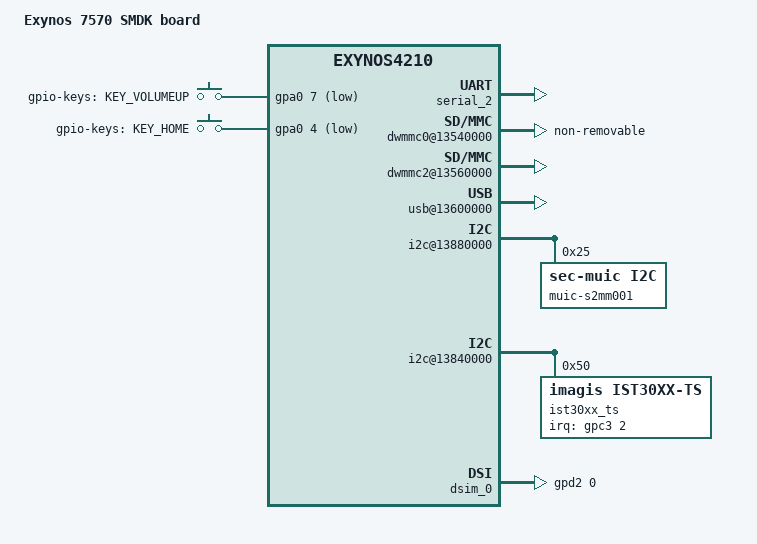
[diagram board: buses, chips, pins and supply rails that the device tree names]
/*
 * SAMSUNG SMDK7270 board device tree source
 *
 * Copyright (c) 2013 Samsung Electronics Co., Ltd.
 *		http://www.samsung.com
 *
 * This program is free software; you can redistribute it and/or modify
 * it under the terms of the GNU General Public License version 2 as
 * published by the Free Software Foundation.
*/

/dts-v1/;
#include "exynos7270.dtsi"
#include "exynos7270-rmem.dtsi"

/ {
	model = "Exynos 7570 SMDK board";
	compatible = "samsung,exynos7570", "samsung,exynos4210";

	memory@40000000 {
		device_type = "memory";
		reg = <0x0 0x40000000 0x20000000>;
	};

	chosen {
		bootargs = "console=ttySAC2,115200 clk_ignore_unused androidboot.hardware=samsungexynos7570 androidboot.selinux=disabled firmware_class.path=/vendor/firmware ess_setup=0x46000000";
		linux,initrd-start = <0x42000000>;
		linux,initrd-end = <0x421FFFFF>;
	};

	fixed-rate-clocks {
		oscclk {
			compatible = "samsung,exynos7570-oscclk";
			clock-frequency = <26000000>;
		};
	};

	serial_2: uart@13820000 {
		status = "okay";
	};

	dwmmc0@13540000 {
		status = "okay";
		num-slots = <1>;
		broken-cd;
		bypass-smu;
		fixed_voltage;
		supports-highspeed;
		clock-gate;
		mmc-ddr-1_8v;
		mmc-hs200-1_8v;
		mmc-hs400-1_8v;
		supports-8bit;
		supports-cmd23;
		supports-erase;
		enable-ulp-mode;
		supports-hs400-enhanced-strobe;
		use-fine-tuning;
		bypass-for-allpass;
		card-init-hwacg-ctrl;
		fifo-depth = <0x40>;
		non-removable;
		card-detect-delay = <200>;
		clock-frequency = <700000000>;
		samsung,dw-mshc-ciu-div = <3>;
		samsung,dw-mshc-txdt-crc-timer-fastlimit = <0x34>;
		samsung,dw-mshc-txdt-crc-timer-initval = <0x38>;
		samsung,dw-mshc-ddr200-delay-line = <0x60>;
		samsung,dw-mshc-sdr-timing = <3 0 4 0>;
		samsung,dw-mshc-ddr-timing = <3 0 4 2>;
		samsung,dw-mshc-hs200-timing = <3 0 3 0>;
		samsung,dw-mshc-ddr200-timing = <1 0 4 0>;
		samsung,dw-mshc-ddr200-ulp-timing = <3 0 3 0>;

		num-ref-clks = <10>;
		ciu_clkin = <25 43 43 87 175 43 43 175 175 175>;

		/* Swapping clock drive strength */
		clk-drive-number = <4>;
		pinctrl-names = "default",
			"fast-slew-rate-1x",
			"fast-slew-rate-2x",
			"fast-slew-rate-3x",
			"fast-slew-rate-4x";
		pinctrl-0 = <&sd0_clk &sd0_cmd &sd0_rdqs &sd0_bus1 &sd0_bus4 &sd0_bus8>;
		pinctrl-1 = <&sd0_clk_fast_slew_rate_1x>;
		pinctrl-2 = <&sd0_clk_fast_slew_rate_2x>;
		pinctrl-3 = <&sd0_clk_fast_slew_rate_3x>;
		pinctrl-4 = <&sd0_clk_fast_slew_rate_4x>;
		slot@0 {
			reg = <0>;
			bus-width = <8>;
		};
	};

	dwmmc2@13560000 {
		status = "okay";
		num-slots = <1>;
		clock-gate;
		supports-highspeed;
		supports-4bit;
		supports-cmd23;
		supports-erase;
		sd-uhs-sdr104;
		bypass-smu;
		bypass-for-allpass;
		use-fine-tuning;
		card-init-hwacg-ctrl;
		fifo-depth = <0x40>;
		card-detect-delay = <200>;
		samsung,dw-mshc-ciu-div = <3>;
		samsung,dw-mshc-sdr-timing = <3 0 2 0>;
		samsung,dw-mshc-ddr-timing = <3 0 2 1>;

		num-ref-clks = <6>;
		ciu_clkin = <25 43 43 87 175 43>;

		clk-drive-number = <4>;
		pinctrl-names = "default",
			"fast-slew-rate-1x",
			"fast-slew-rate-2x",
			"fast-slew-rate-3x",
			"fast-slew-rate-4x";
		pinctrl-0 = <&sd2_clk &sd2_cmd &sd2_bus1 &sd2_bus4 &dwmmc2_cd_ext_irq>;
		pinctrl-1 = <&sd2_clk_fast_slew_rate_1x>;
		pinctrl-2 = <&sd2_clk_fast_slew_rate_2x>;
		pinctrl-3 = <&sd2_clk_fast_slew_rate_3x>;
		pinctrl-4 = <&sd2_clk_fast_slew_rate_4x>;

		card-detect = <&gpa0 1 0xf>;
		slot@0 {
			reg = <0>;
			bus-width = <4>;
			disable-wp;
		};
	};

	ion {
		compatible = "samsung,exynos5430-ion";
	};

	usb@13600000 {
		status = "okay";

		dwc3 {
			dr_mode = "otg";
		};
	};

	usbphy@135c0000 {
		status = "okay";
	};

	usb_notifier {
		compatible = "samsung,usb-notifier";
		udc = <&udc>;
	};

	tmuctrl_0: tmuctrl_CPUCL0@10130000 {
		compatible = "samsung,exynos7570-tmu";
		reg = <0x0 0x10130000 0x200>;
		interrupts = <0 435 0>;
		default_ptat_cont = <0x1>;
	};

	tmuctrl_1: tmuctrl_G3D@10130000 {
		compatible = "samsung,exynos7570-tmu";
		reg = <0x0 0x10130000 0x200>;
		interrupts = <0 435 0>;
		default_ptat_cont = <0x1>;

		/* gpu cooling related table */
		gpu_idx_num = <5>;
		/* flags, driver_data(index), frequency */
		gpu_cooling_table = < 0 0 830000
				      0 1 700000
				      0 2 553000
				      0 3 415000
				      0 4 TABLE_END>;
	};

	pinctrl@139F0000 {
		if_irq: if-irq {
			samsung,pins = "gpa0-5";
			samsung,pin-pud = <3>;
			samsung,pin-drv = <3>;
		};
	};

	i2c@13880000 {
		status = "okay";
		muic-s2mm001@25 {
			compatible = "sec-muic,i2c";
			reg = <0x25>;
			pinctrl-names = "default";
			muic,muic_int = <&gpa1 1 0>;
		};
	};

	speedy@10510000 {
		status = "okay";
		s2mpw01mfd@00 {
			compatible = "samsung,s2mpw01mfd";
			reg = <0x00>;
			pinctrl-names = "default";
			pinctrl-0 = <&if_irq>;
			s2mpw01,irq-gpio = <&gpa0 5 0>;
			s2mpw01,wakeup = "enabled";

			i2c-speedy-address;
			cache_data = <1>;

			/* RTC: wtsr/smpl */
			wtsr_en = "enabled"; /* enable */
			wtsr_timer_val = <3>;   /* 1000ms */
			check_jigon = <0>; /* do not check jigon */
			/* RTC: reset time to 1/1/2014 00:00:00(Wed) */
			init_time,sec = <0>;
			init_time,min = <0>;
			init_time,hour = <0>;
			init_time,mday = <1>;
			init_time,mon = <0>;    /* +1 */
			init_time,year = <116>; /* 1900 + 114 */
			init_time,wday = <5>;

			s2mpw01-keys {
				button@1 {
					label = "pmic-keys: KEY_POWER";
					linux,code = <116>;
					wakeup = <1>;
				};
			};

			regulators {
				buck1_reg: BUCK1 {
					regulator-name = "BUCK1";
					regulator-min-microvolt = <600000>;
					regulator-max-microvolt = <1300000>;
					regulator-always-on;
					regulator-boot-on;
					regulator-ramp-delay = <12000>;
					regulator-initial-mode = <1>;
					regulator-expected-consumer = <5>;
				};

				buck3_reg: BUCK3 {
					regulator-name = "BUCK3";
					regulator-min-microvolt = <800000>;
					regulator-max-microvolt = <1500000>;
					regulator-always-on;
					regulator-boot-on;
					regulator-ramp-delay = <12000>;
					regulator-initial-mode = <3>;
				};

				buck4_reg: BUCK4 {
					regulator-name = "BUCK4";
					regulator-min-microvolt = <1800000>;
					regulator-max-microvolt = <2100000>;
					regulator-always-on;
					regulator-boot-on;
					regulator-initial-mode = <3>;
					regulator-ramp-delay = <12000>;
				};

				ldo1_reg: LDO1 {
					regulator-name = "vdd_ldo1";
					regulator-min-microvolt = <500000>;
					regulator-max-microvolt = <1350000>;
					regulator-ramp-delay = <12000>;
					regulator-always-on;
					regulator-boot-on;
					regulator-initial-mode = <3>;
				};

				ldo2_reg: LDO2 {
					regulator-name = "vdd_ldo2";
					regulator-min-microvolt = <500000>;
					regulator-max-microvolt = <1350000>;
					regulator-always-on;
					regulator-boot-on;
					regulator-ramp-delay = <12000>;
					regulator-initial-mode = <1>;
				};

				ldo3_reg: LDO3 {
					regulator-name = "vdd_ldo3";
					regulator-min-microvolt = <1500000>;
					regulator-max-microvolt = <2000000>;
					regulator-always-on;
					regulator-boot-on;
					regulator-initial-mode = <3>;
					regulator-ramp-delay = <12000>;
				};

				ldo4_reg: LDO4 {
					regulator-name = "vdd_ldo4";
					regulator-min-microvolt = <800000>;
					regulator-max-microvolt = <1200000>;
					regulator-always-on;
					regulator-boot-on;
					regulator-initial-mode = <1>;
					regulator-ramp-delay = <12000>;
				};

				ldo5_reg: LDO5 {
					regulator-name = "vdd_ldo5";
					regulator-min-microvolt = <800000>;
					regulator-max-microvolt = <1200000>;
					regulator-always-on;
					regulator-boot-on;
					regulator-initial-mode = <1>;
					regulator-ramp-delay = <12000>;
				};

				ldo6_reg: LDO6 {
					regulator-name = "vdd_ldo6";
					regulator-min-microvolt = <1800000>;
					regulator-max-microvolt = <3375000>;
					regulator-initial-mode = <1>;
					regulator-ramp-delay = <12000>;
				};

				ldo7_reg: LDO7 {
					regulator-name = "vdd_ldo7";
					regulator-min-microvolt = <800000>;
					regulator-max-microvolt = <1200000>;
					regulator-always-on;
					regulator-boot-on;
					regulator-initial-mode = <3>;
					regulator-ramp-delay = <12000>;
				};

				ldo8_reg: LDO8 {
					regulator-name = "vdd_ldo8";
					regulator-min-microvolt = <1500000>;
					regulator-max-microvolt = <2000000>;
					regulator-always-on;
					regulator-boot-on;
					regulator-ramp-delay = <12000>;
				};

				ldo9_reg: LDO9 {
					regulator-name = "vdd_ldo9";
					regulator-min-microvolt = <1800000>;
					regulator-max-microvolt = <3375000>;
					regulator-always-on;
					regulator-boot-on;
					regulator-ramp-delay = <12000>;
				};

				ldo10_reg: LDO10 {
					regulator-name = "vdd_ldo10";
					regulator-min-microvolt = <1500000>;
					regulator-max-microvolt = <2000000>;
					regulator-always-on;
					regulator-boot-on;
					regulator-ramp-delay = <12000>;
				};

				ldo11_reg: LDO11 {
					regulator-name = "vdd_ldo11";
					regulator-min-microvolt = <1800000>;
					regulator-max-microvolt = <2850000>;
					regulator-always-on;
					regulator-boot-on;
					regulator-ramp-delay = <12000>;
				};

				ldo12_reg: LDO12 {
					regulator-name = "vdd_ldo12";
					regulator-min-microvolt = <1800000>;
					regulator-max-microvolt = <3375000>;
					regulator-ramp-delay = <12000>;
				};

				ldo13_reg: LDO13 {
					regulator-name = "vdd_ldo13";
					regulator-min-microvolt = <1500000>;
					regulator-max-microvolt = <2000000>;
					regulator-ramp-delay = <12000>;
				};

				ldo14_reg: LDO14 {
					regulator-name = "vdd_ldo14";
					regulator-min-microvolt = <1800000>;
					regulator-max-microvolt = <3375000>;
					regulator-ramp-delay = <12000>;
				};

				ldo15_reg: LDO15 {
					regulator-name = "vdd_ldo15";
					regulator-min-microvolt = <1500000>;
					regulator-max-microvolt = <2000000>;
					regulator-always-on;
					regulator-boot-on;
					regulator-initial-mode = <3>;
					regulator-ramp-delay = <12000>;
				};

				ldo16_reg: LDO16 {
					regulator-name = "vdd_ldo16";
					regulator-min-microvolt = <1800000>;
					regulator-max-microvolt = <3375000>;
					regulator-always-on;
					regulator-boot-on;
					regulator-initial-mode = <1>;
					regulator-ramp-delay = <12000>;
				};

				ldo17_reg: LDO17 {
					regulator-name = "vdd_ldo17";
					regulator-min-microvolt = <1500000>;
					regulator-max-microvolt = <2000000>;
					regulator-always-on;
					regulator-boot-on;
					regulator-initial-mode = <1>;
					regulator-ramp-delay = <12000>;
				};

				ldo18_reg: LDO18 {
					regulator-name = "vdd_ldo18";
					regulator-min-microvolt = <1800000>;
					regulator-max-microvolt = <3375000>;
					regulator-ramp-delay = <12000>;
				};

				ldo19_reg: LDO19 {
					regulator-name = "vdd_ldo19";
					regulator-min-microvolt = <1800000>;
					regulator-max-microvolt = <3375000>;
					regulator-always-on;
					regulator-boot-on;
					regulator-ramp-delay = <12000>;
				};

				ldo20_reg: LDO20 {
					regulator-name = "vdd_ldo20";
					regulator-min-microvolt = <1800000>;
					regulator-max-microvolt = <3375000>;
					regulator-always-on;
					regulator-boot-on;
					regulator-ramp-delay = <12000>;
				};

				ldo21_reg: LDO21 {
					regulator-name = "vdd_ldo21";
					regulator-min-microvolt = <1500000>;
					regulator-max-microvolt = <2000000>;
					regulator-ramp-delay = <12000>;
					regulator-always-on;
					regulator-boot-on;
					regulator-initial-mode = <1>;
				};

				ldo22_reg: LDO22 {
					regulator-name = "vdd_ldo22";
					regulator-min-microvolt = <800000>;
					regulator-max-microvolt = <1200000>;
					regulator-always-on;
					regulator-boot-on;
					regulator-initial-mode = <1>;
					regulator-ramp-delay = <12000>;
				};

				ldo23_reg: LDO23 {
					regulator-name = "vdd_ldo23";
					regulator-min-microvolt = <1800000>;
					regulator-max-microvolt = <3375000>;
					regulator-always-on;
					regulator-boot-on;
					regulator-ramp-delay = <12000>;
				};
			};
		};
	};

	dummy-dev-buck1 {
		compatible = "samsung,exynos-rgt";
		test-supply = <&buck1_reg>;
	};

	dummy-dev-buck3 {
		compatible = "samsung,exynos-rgt";
		test-supply = <&buck3_reg>;
	};

	dummy-dev-buck4 {
		compatible = "samsung,exynos-rgt";
		test-supply = <&buck4_reg>;
	};

	dummy-dev-ldo1 {
		compatible = "samsung,exynos-rgt";
		test-supply = <&ldo1_reg>;
	};

	dummy-dev-ldo2 {
		compatible = "samsung,exynos-rgt";
		test-supply = <&ldo2_reg>;
	};

	dummy-dev-ldo3 {
		compatible = "samsung,exynos-rgt";
		test-supply = <&ldo3_reg>;
	};

	dummy-dev-ldo4 {
		compatible = "samsung,exynos-rgt";
		test-supply = <&ldo4_reg>;
	};

	dummy-dev-ldo5 {
		compatible = "samsung,exynos-rgt";
		test-supply = <&ldo5_reg>;
	};

	dummy-dev-ldo6 {
		compatible = "samsung,exynos-rgt";
		test-supply = <&ldo6_reg>;
	};

	dummy-dev-ldo7 {
		compatible = "samsung,exynos-rgt";
		test-supply = <&ldo7_reg>;
	};

	dummy-dev-ldo8 {
		compatible = "samsung,exynos-rgt";
		test-supply = <&ldo8_reg>;
	};

	dummy-dev-ldo9 {
		compatible = "samsung,exynos-rgt";
		test-supply = <&ldo9_reg>;
	};

	dummy-dev-ldo10 {
		compatible = "samsung,exynos-rgt";
		test-supply = <&ldo10_reg>;
	};

	dummy-dev-ldo11 {
		compatible = "samsung,exynos-rgt";
		test-supply = <&ldo11_reg>;
	};

	dummy-dev-ldo12 {
		compatible = "samsung,exynos-rgt";
		test-supply = <&ldo12_reg>;
	};

	dummy-dev-ldo13 {
		compatible = "samsung,exynos-rgt";
		test-supply = <&ldo13_reg>;
	};

	dummy-dev-ldo14 {
		compatible = "samsung,exynos-rgt";
		test-supply = <&ldo14_reg>;
	};

	dummy-dev-ldo15 {
		compatible = "samsung,exynos-rgt";
		test-supply = <&ldo15_reg>;
	};

	dummy-dev-ldo16 {
		compatible = "samsung,exynos-rgt";
		test-supply = <&ldo16_reg>;
	};

	dummy-dev-ldo17 {
		compatible = "samsung,exynos-rgt";
		test-supply = <&ldo17_reg>;
	};

	dummy-dev-ldo18 {
		compatible = "samsung,exynos-rgt";
		test-supply = <&ldo18_reg>;
	};

	dummy-dev-ldo19 {
		compatible = "samsung,exynos-rgt";
		test-supply = <&ldo19_reg>;
	};

	dummy-dev-ldo20 {
		compatible = "samsung,exynos-rgt";
		test-supply = <&ldo20_reg>;
	};

	dummy-dev-ldo21 {
		compatible = "samsung,exynos-rgt";
		test-supply = <&ldo21_reg>;
	};

	dummy-dev-ldo22 {
		compatible = "samsung,exynos-rgt";
		test-supply = <&ldo22_reg>;
	};

	dummy-dev-ldo23 {
		compatible = "samsung,exynos-rgt";
		test-supply = <&ldo23_reg>;
	};

	exynos-pm {
		compatible = "samsung,exynos-pm";
		reg = <0x0 0x139F0000 0x1000>,
		      <0x0 0x104E1200 0x100>;
		reg-names = "gpio_alive_base",
			    "gicd_ispendrn_base";
		num-eint = <24>;
		num-gic = <16>;
		suspend_mode_idx = <8>;		/* SYS_SLEEP */
		suspend_psci_idx = <131>;	/* PSCI_SYSTEM_SLEEP */
		cp_call_mode_idx = <4>;		/* SYS_LPD */
		cp_call_psci_idx = <132>;	/* PSCI_SYSTEM_CP_CALL */
	};

	exynos-powermode {
		compatible = "exynos,powermode";

		/*	        sicd		sicd_cpd	aftr		stop
		 * 		lpd		lpa		alpa		dstop
		 *		sleep
		 */
		wakeup_mask =  <0x400791E1>,	<0x0>,		<0x0>,		<0x0>,
			       <0x0>,		<0x0>,		<0x0>,		<0x0>,
			       <0x4007FFFC>;
		wakeup_mask2 = <0x0>,		<0x0>,		<0x0>,		<0x0>,
			       <0x0>,		<0x0>,		<0x0>,		<0x0>,
			       <0xFFFF00FF>;
		wakeup_mask3 = <0x0>,		<0x0>,		<0x0>,		<0x0>,
			       <0x0>,		<0x0>,		<0x0>,		<0x0>,
			       <0xFFFF00FF>;

		cpd_residency = <3000>;
		sicd_residency = <3000>;

		sicd_enabled = <1>;

		idle-ip = "136c0000.pwm",		/* idle ip index : 0 */
			  "10550000.adc",		/* idle ip index : 1 */

			  "10510000.hsi2c",		/* idle ip index : 2 */
			  "13950000.hsi2c",		/* idle ip index : 3 */
			  "13960000.hsi2c",		/* idle ip index : 4 */
			  "138a0000.hsi2c",		/* idle ip index : 5 */
			  "138b0000.hsi2c",		/* idle ip index : 6 */
			  "138c0000.hsi2c",		/* idle ip index : 7 */
			  "138f0000.hsi2c",		/* idle ip index : 8 */

			  "13870000.i2c",		/* idle ip index : 9 */
			  "13880000.i2c",		/* idle ip index : 10 */
			  "13890000.i2c",		/* idle ip index : 11 */
			  "13840000.i2c",		/* idle ip index : 12 */
			  "13830000.i2c",		/* idle ip index : 13 */
			  "138d0000.i2c",		/* idle ip index : 14 */
			  "138e0000.i2c",		/* idle ip index : 15 */
			  "13850000.i2c",		/* idle ip index : 16 */
			  "13860000.i2c",		/* idle ip index : 17 */

			  "13540000.dwmmc0",		/* idle ip index : 18 */
			  "13560000.dwmmc2",		/* idle ip index : 19 */

			  "13600000.usb",		/* idle ip index : 20 */

			  "100c0000.spi",		/* idle ip index : 21 */
			  "13900000.spi",		/* idle ip index : 22 */
			  "13910000.spi",		/* idle ip index : 23 */
			  "13920000.spi",		/* idle ip index : 24 */
			  "13930000.spi",		/* idle ip index : 25 */

			  "10500000.mailbox-cp",	/* idle ip index : 26 */
			  "10570000.mailbox-gnss",	/* idle ip index : 27 */

			  "14830000.decon_fb",		/* idle ip index : 28 */
			  "pd-g3d",			/* idle ip index : 29 */
			  "pd-isp",			/* idle ip index : 30 */
			  "pd-mfcmscl",			/* idle ip index : 31 */
			  "148f0000.lpass";             /* idle ip index : 32 */
		idle_ip_mask {
			sicd: SYS_SICD {
				mode-index = <0>;
				ref-idle-ip = <0>,  <1>,  <2>,  <3>,  <4>,  <5>,  <6>,  <7>,  <8>,  <9>,
					     <10>, <11>, <12>, <13>, <14>, <15>, <16>, <17>, <18>, <19>,
					     <20>, <21>, <22>, <23>, <24>, <25>, <26>, <27>, <28>, <29>,
					     <30>, <31>, <32>;
			};
		};
	};

	battery {
		battery,charger_name = "sec-charger";
		battery,fuelgauge_name = "sec-fuelgauge";
		battery,chg_eoc_dualpath = <1>;

		battery,input_current_limit = <500 0 0 500 460 900 1000 460 1000 0 820 1900 1000 0 0 400 700 1300 300 1000 1500 0 1667 1000 80 1800>;
		battery,fast_charging_current = <500 0 0 500 460 1200 1000 460 1200 0 1000 1600 1000 0 0 400 700 1300 300 1000 1500 0 3150 1000 80 1800>;
		battery,full_check_current_1st = <100 0 0 100 100 250 250 250 250 0 250 250 250 0 0 350 350 350 350 350 350 0 350 350 0 350>;
		battery,full_check_current_2nd = <3000 0 0 3000 3000 3000 3000 3000 3000 0 3000 3000 0 0 0 3000 3000 3000 3000 3000 3000 0 3000 3000 3000 3000>;
		battery,input_current_limit_new = <1800 0 0 1500 460 900 1000 460 1000 0 820 1900 1000 0 0 400 700 1300 300 1000 1500 0 1667 1000 80 1800>;
		battery,fast_charging_current_new = <2100 0 0 1700 460 1200 1000 460 1200 0 1000 1600 1000 0 0 400 700 1300 300 1000 1500 0 3150 1000 80 1800>;
		battery,recharge_condition_vcell = <4250>;
	};

	s2mpw01-charger {
		battery,chg_float_voltage = <4390>;
	};

	s2mpw01-fuelgauge {
		fuelgauge,fuel_alert_soc = <1>;
		fuelgauge,capacity_max = <1000>;
		fuelgauge,capacity_max_margin = <70>;
		fuelgauge,capacity_min = <0>;
		fuelgauge,capacity_calculation_type = <28>;
		fuelgauge,type_str = "SDI";
		fuelgauge,model_type = <1>;
	};

	acpm: acpm@11C88000 {
		compatible = "samsung,exynos-acpm";
		#address-cells = <2>;
		#size-cells = <1>;
		reg = <0x0 0x11C88000 0x1000>;

		log_base = <0x02047700>;
		time_len = <32>;
		log_buff_size = <16>;
		log_buff_len = <500>;
		debug_logging_level = <0>;
		logging_period = <500>;

		dump_base = <0x02046000>;
		dump_size = <0x4000>;

		plugins {
			framework {
				attach = <2>;
				id = <0>;
				acpm-ipc-channel = <&framework_ch>;
			};
		};
	};

	acpm_ipc: acpm_ipc@11C00000 {
		compatible = "samsung,exynos-acpm-ipc";
		#address-cells = <2>;
		#size-cells = <1>;

		interrupts = <0 22 0>;
		reg = <0x0 0x11C00000 0x1000>;

		channels {
			polling = <1>;
			max_buff_size = <0x300>;
			framework_ch: framework@0x02047400 {
				channel_id = <0>;
				rx_buff = <0x02047400>;
				tx_buff = <0x02047480>;
				buff_size = <12>;
				buff_len = <8>;
				direction_buff = <412>;
			};
		};
	};

	pinctrl@139D0000 {
		attn_irq: attn-irq {
			samsung,pins = "gpc3-2";
			samsung,pin-function = <0xf>;
			samsung,pin-pud = <3>;
			samsung,pin-drv = <0>;
		};
		attn_input: attn-input {
			samsung,pins = "gpc3-2";
			samsung,pin-function = <0>;
			samsung,pin-pud = <1>;
			samsung,pin-drv = <0>;
		};
	};

	i2c@13840000 {
		status = "okay";
		#address-cells = <1>;
		#size-cells = <0>;

		ist30xx_ts@50 {
			compatible = "imagis,ist30xx-ts";
			reg = <0x50>;
			pinctrl-names = "active_state", "suspend_state";
			pinctrl-0 = <&attn_irq>;
			pinctrl-1 = <&attn_input>;
			vdd_ldo_name = "vdd_ldo17";
			imagis,irq-gpio = <&gpc3 2 0>;
			imagis,ic-version = "ist3038c";
			imagis,project-name = "java";
		};
	};

	pinctrl@139F0000 {
		key_volup: key-volup {
			samsung,pins = "gpa0-7";
			samsung,pin-function = <0xf>;
			samsung,pin-pud = <0>;
			samsung,pin-drv = <0>;
		};

		key_home: key-home {
			samsung,pins = "gpa0-4";
			samsung,pin-function = <0xf>;
			samsung,pin-pud = <0>;
			samsung,pin-drv = <0>;
		};
	};

	gpio_keys {
		compatible = "gpio-keys";
		pinctrl-names = "default";
		pinctrl-0 = <&key_volup &key_home>;
		#address-cells = <1>;
		#size-cells = <0>;

		button@1 {
			label = "gpio-keys: KEY_VOLUMEUP";
			interrupts = <7 0 0>;
			interrupt-parent = <&gpa0>;
			linux,code = <116>;
			gpios = <&gpa0 7 0xf>;
			gpio-key,wakeup = <1>;
		};
		button@2 {
			label = "gpio-keys: KEY_HOME";
			interrupts = <4 0 0>;
			interrupt-parent = <&gpa0>;
			linux,code = <172>;
			gpios = <&gpa0 4 0xf>;
			gpio-key,wakeup = <1>;
		};
	};

	decon_fb@14830000 {
		/* HW TE */
		gpios = <&gpe0 2 0xf>;
		/* 0: video mode, 1: DP command mode, 2: MIPI command mode */
		psr_mode = <2>;
		/* vclk_mif = 121.1MHz */
		mif-vclk = <121090000>;
		/* vclk = 60.55 Mhz */
		disp-vclk = <60550000>;
		/* aclk = 208Mhz */
		disp-dvfs = <208000000>;
		status = "okay";
	};

	dsim_0: dsim@14800000 {
		lcd_info = <&s6e3aa2>;
		/*lcd reset */
		gpios = <&gpd2 0 0x1>;

		/* number of data lanes in use */
		data_lane_cnt = <2>;

		status = "okay";
	};

	s6e3aa2: s6e3aa2_custom {
		/* 0: video mode, 1: DP command mode, 2: MIPI command mode */
		mode = <2>;
		/* custom (360 x 360) */
		panel_name = "s6e3aa2";
		resolution = <720 1280>;
		/* DISP I/F resolution width : 300, height : 432 */
		dispif_resol = <320 2880>;
		size = <71 114>;
		timing,refresh = <60>;
		/* dsim H porch : hbp, hfp, hsa */
		timing,dsim_h-porch = <1 1 1>;
		/* dsim V porch : VBP, VFP, VSA */
		timing,dsim_v-porch = <12 2 1>;
		/* decon H porch : hbp, hfp, hsa */
		timing,decon_h-porch = <25 1 1>;
		/* decon V porch : VBP, VFP, VSA */
		timing,decon_v-porch = <12 2 1>;
		/* panel max speed : 800Mbps */
		timing,dsi-hs-clk = <800>;
		timing,pms = <2 123 1>;
		timing,dsi-escape-clk = <8>;
	};

};
